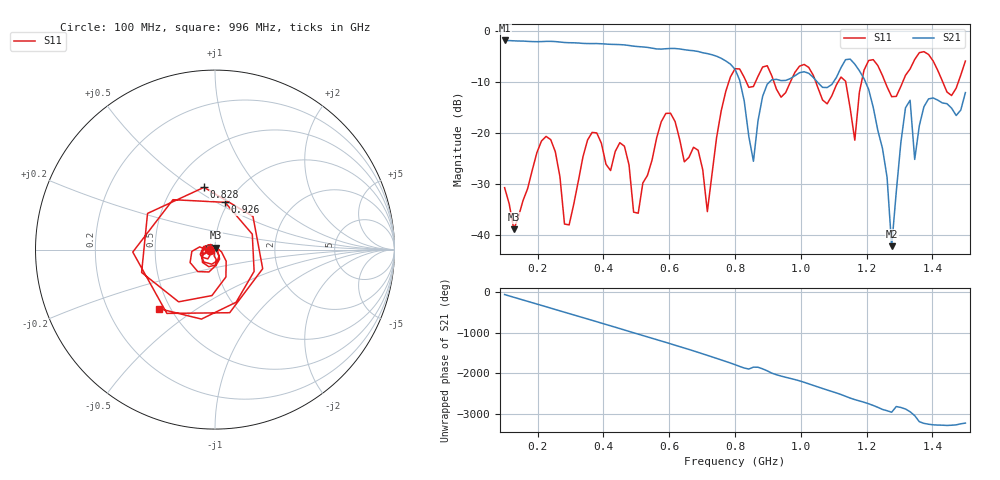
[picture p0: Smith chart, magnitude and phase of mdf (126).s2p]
! NanoVNA-App
! Date: 2025-09-25 15:39:24
! Start: 100MHz Stop: 1,5GHz Points: 101
! S-Parameter data: F S11 S21 S12 S22
# Hz S RI R 50
!  Frequency  S11_Real  S11_Imag  S21_Real  S21_Imag  S12_Real  S12_Imag  S22_Real  S22_Imag
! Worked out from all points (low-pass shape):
!   101 points, 100 MHz to 1.5 GHz, reference 50 ohm
!   highest |S21| = -1.80 dB at 100 MHz (marker M1); lowest = -42.3 dB at 1.276 GHz (marker M2)
!   |S21| within 3 dB of the highest: start of sweep to 739.2 MHz
!   lowest |S11| = -39.0 dB at 128 MHz (marker M3), VSWR 1.02, Z = 50.3 + j1.08 ohm
!   |S11| at or under -10 dB: start of sweep to 781 MHz; 918.5 MHz to 968.1 MHz (49.55 MHz wide, 5.25 % of centre); 1.046 GHz to 1.113 GHz (67.41 MHz wide, 6.25 % of centre) (the widest 3 of 7)
!   S12 and S22 are empty: the file has one direction only
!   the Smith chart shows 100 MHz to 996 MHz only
!   S11 on the Smith chart (normalised r, x): 100 MHz: 0.94, -0.01; 828 MHz: 0.70, +0.56; 926 MHz: 0.97, +0.55; 996 MHz: 0.43, -0.36
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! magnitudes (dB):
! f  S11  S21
! 100 MHz  -30.8  -1.8
! 128 MHz  -39.0  -1.9
! 212 MHz  -21.6  -2.0
! 282 MHz  -37.9  -2.2
! 338 MHz  -24.7  -2.4
! 464 MHz  -22.6  -2.7
! 506 MHz  -35.8  -3.0
! 576 MHz  -17.8  -3.5
! 716 MHz  -35.5  -4.4
! 800 MHz  -7.4  -7.5
! 828 MHz  -9.1  -13.7
! 856 MHz  -10.9  -25.6
! 926 MHz  -11.4  -9.5
! 996 MHz  -6.9  -8.1
! 1.038 GHz  -8.7  -9.1
! 1.136 GHz  -9.8  -5.6
! 1.164 GHz  -21.4  -6.5
! 1.192 GHz  -7.7  -9.3
! 1.276 GHz  -12.9  -42.3
! 1.318 GHz  -8.7  -15.1
! 1.346 GHz  -5.5  -25.2
! 1.5 GHz  -5.9  -12.1
